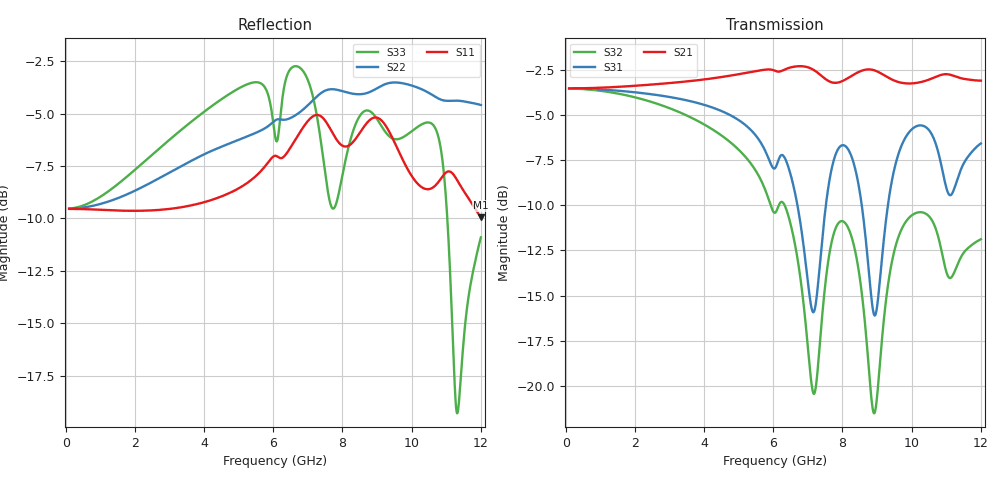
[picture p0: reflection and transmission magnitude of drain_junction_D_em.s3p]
! Drain junction EM block, variant D: taper 4.5 mm -> OW0 over OLPin, then tee. Momentum 2026-10-16, fr4_1p52, TML ports, no flange
! Built-in geometry: start 4.5 mm, OLPin=2.32367 mm, OW0=9.52591 mm, OWb=2.36444 mm
! Ports: 1 = RF_drain, 2 = main line (to TL1), 3 = bias branch (to drain_bias X2). 0 Hz row = ideal DC junction
# Hz S RI R 50
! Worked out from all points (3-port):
!   473 points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, 100 MHz to 12 GHz, reference 50 ohm
!   strongest paths, dB at 100 MHz, 6.029 GHz, 7.813 GHz, 9.645 GHz, 12 GHz:
!     S21: -3.5, -2.5, -3.2, -3.2, -3.1
!     S31: -3.5, -8.0, -7.1, -7.0, -6.6
!     S32: -3.5, -10.4, -11.2, -11.6, -11.9
!   lowest |S11| = -10.0 dB at 12 GHz (marker M1), VSWR 1.93, Z = 39.2 + j27.7 ohm
!   |S11| at or under -10 dB: nowhere
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1e8  -0.3333 0.000598  0.6665 -0.0118  0.6663 -0.0147
     0.6665 -0.0118  -0.3335 -0.00424  0.6663 -0.00987
     0.6663 -0.0147  0.6663 -0.00987  -0.3338 -0.00134
6.05e9  -0.446 -0.00933  0.2723 -0.6944  0.0149 -0.4003
        0.2723 -0.6944  -0.5219 -0.1437  0.1664 -0.2513
        0.0149 -0.4003  0.1664 -0.2513  -0.1346 0.4797
6.78342e9  -0.509 0.0208  0.1607 -0.7509  -0.1022 -0.2635
           0.1607 -0.7509  -0.5535 -0.1275  0.0518 -0.1921
           -0.1022 -0.2635  0.0518 -0.1921  0.2359 0.6821
7.647685e9  -0.4748 0.2045  0.0178 -0.6946  0.1723 -0.3411
            0.0178 -0.6946  -0.6402 -0.0553  0.2347 -0.0486
            0.1723 -0.3411  0.2347 -0.0486  0.0354 -0.3416
8.105642e9  -0.4309 0.1862  0.00636 -0.7069  -0.0339 -0.4581
            0.00636 -0.7069  -0.6323 -0.00557  0.2191 -0.1746
            -0.0339 -0.4581  0.2191 -0.1746  -0.4184 0.1433
8.611806e9  -0.4713 0.2241  -0.0733 -0.7453  -0.1484 -0.2465
            -0.0733 -0.7453  -0.6267 0.00822  0.0825 -0.1399
            -0.1484 -0.2465  0.0825 -0.1399  0.1242 0.5547
9.541493e9  -0.2998 0.3659  -0.2157 -0.6637  0.1113 -0.3986
            -0.2157 -0.6637  -0.6639 0.0646  0.2448 0.00844
            0.1113 -0.3986  0.2448 0.00844  0.0163 -0.488
1.080174e10  -0.2167 0.3231  -0.3425 -0.6376  -0.2793 -0.3277
             -0.3425 -0.6376  -0.5984 0.1145  0.1919 -0.1617
             -0.2793 -0.3277  0.1919 -0.1617  -0.2794 0.3938
1.131134e10  -0.1171 0.3727  -0.4279 -0.5745  -0.1743 -0.3275
             -0.4279 -0.5745  -0.5944 0.1062  0.1952 -0.0905
             -0.1743 -0.3275  0.1952 -0.0905  -0.0528 0.0948
1.2e10  -0.0224 0.3172  -0.4882 -0.5022  -0.3222 -0.341
        -0.4882 -0.5022  -0.5773 0.1187  0.2152 -0.136
        -0.3222 -0.341  0.2152 -0.136  -0.1957 0.2072
